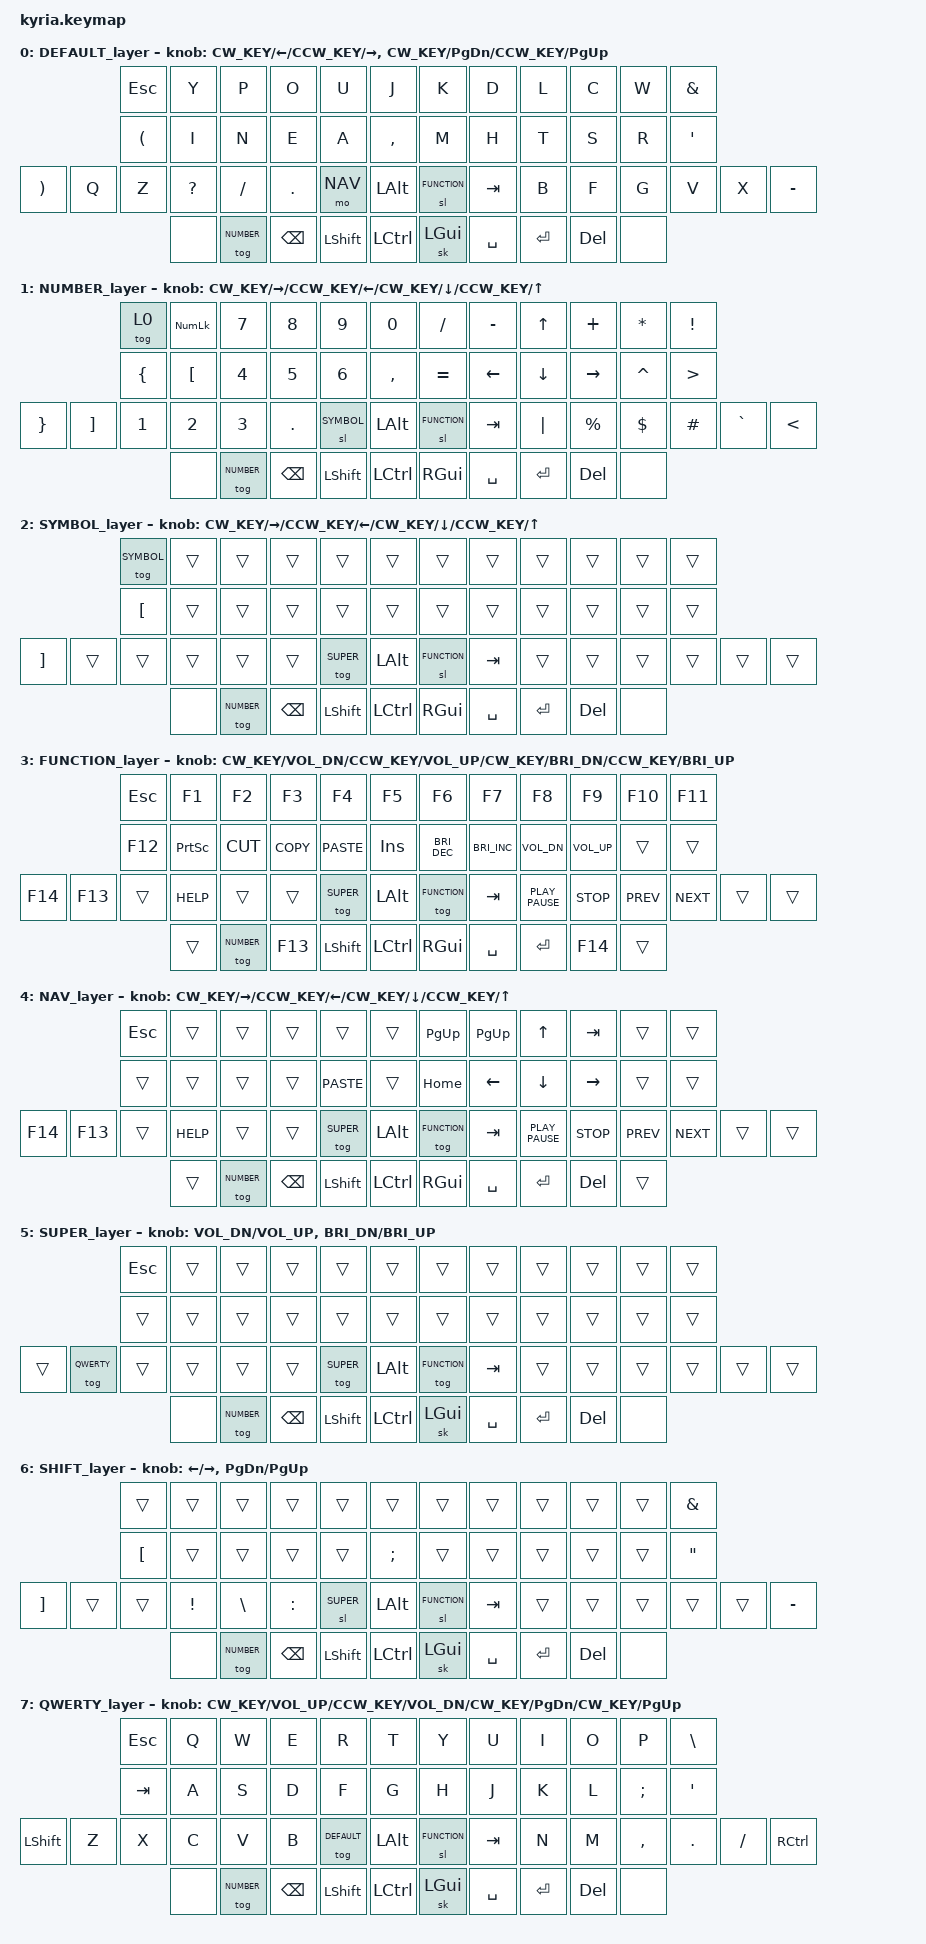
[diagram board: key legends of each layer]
/*
 * Copyright (c) 2020 The ZMK Contributors
 *
 * SPDX-License-Identifier: MIT
 */

#include <behaviors.dtsi>
#include <dt-bindings/zmk/keys.h>
#include <dt-bindings/zmk/rgb.h>

#define DEFAULT  0
#define NUMBER   1
#define SYMBOL	 2
#define FUNCTION 3
#define NAV      4
#define SUPER	 5
#define SHIFT	 6
#define QWERTY   7


&left_encoder { resolution = <2>; };
&right_encoder { resolution = <2>; };

/ {
    combos {
        compatible = "zmk,combos";
        combo_SUPER {
            timeout-ms = <30>;
            key-positions = <30 43>;
            bindings = <&sl SUPER>;
        };
    };
};
/ {

	keymap {
		compatible = "zmk,keymap";

		DEFAULT_layer {
            bindings = <
               &kp ESC   &kp Y   &kp P         &kp O      &kp U          &kp J                                                                           &kp K       &kp D   &kp L   &kp C   &kp W          &kp AMPS
  &kp LEFT_PARENTHESIS   &kp I   &kp N         &kp E      &kp A     &kp COMMA                                                                           &kp M       &kp H   &kp T   &kp S   &kp R  &kp SINGLE_QUOTE
 &kp RIGHT_PARENTHESIS   &kp Q   &kp Z  &kp QUESTION  &kp SLASH      &kp PERIOD                     &mo NAV  &kp LEFT_ALT     &sl FUNCTION &kp TAB      &kp B       &kp F   &kp G   &kp V   &kp X         &kp MINUS
                                               &none     &tog NUMBER  &kp BACKSPACE       &kp LSHIFT  &kp LEFT_CONTROL  &sk LEFT_GUI  &kp SPACE  &kp ENTER  &kp DELETE   &none
            >;

			sensor-bindings = <BINDING CW_KEY LEFT CCW_KEY RIGHT &inc_dec_kp CW_KEY PG_DN CCW_KEY PG_UP>;
		};

		NUMBER_layer {
            bindings = <
               &tog 0     &kp KP_NUMLOCK  &kp NUMBER_7  &kp NUMBER_8  &kp NUMBER_9   &kp NUMBER_0                                                                    &kp SLASH    &kp MINUS      &kp UP   &kp PLUS  &kp ASTERISK   &kp EXCLAMATION
 &kp LEFT_BRACE   &kp LEFT_BRACKET  &kp NUMBER_4  &kp NUMBER_5  &kp NUMBER_6      &kp COMMA                                                                    &kp EQUAL     &kp LEFT    &kp DOWN  &kp RIGHT     &kp CARET  &kp GREATER_THAN
             &kp RIGHT_BRACE  &kp RIGHT_BRACKET  &kp NUMBER_1  &kp NUMBER_2  &kp NUMBER_3     &kp PERIOD                 &sl SYMBOL    &kp LEFT_ALT  &sl FUNCTION    &kp TAB   &kp PIPE  &kp PERCENT  &kp DOLLAR   &kp HASH     &kp GRAVE     &kp LESS_THAN
                                                               &none    &tog NUMBER  &kp BACKSPACE            &kp LEFT_SHIFT     &kp LCTRL  &kp RIGHT_GUI  &kp SPACE  &kp ENTER   &kp DELETE      &none
            >;

			sensor-bindings = <BINDING CW_KEY RIGHT CCW_KEY LEFT CW_KEY DOWN CCW_KEY UP>;
		};

 		SYMBOL_layer {
            bindings = <
 &tog SYMBOL  &trans  &trans  &trans  &trans  &trans                                            &trans  &trans  &trans  &trans  &trans  &trans
 &kp LEFT_BRACKET  &trans  &trans  &trans  &trans  &trans                                            &trans  &trans  &trans  &trans  &trans  &trans
 &kp RIGHT_BRACKET  &trans  &trans  &trans  &trans  &trans  &tog SUPER &kp LEFT_ALT   &sl FUNCTION   &kp TAB  &trans  &trans  &trans  &trans  &trans  &trans
            &none    &tog NUMBER  &kp BACKSPACE &kp LEFT_SHIFT  &kp LCTRL  &kp RIGHT_GUI  &kp SPACE  &kp ENTER   &kp DELETE      &none 
            >;
 			sensor-bindings = <BINDING CW_KEY RIGHT CCW_KEY LEFT CW_KEY DOWN CCW_KEY UP>;
 		};

 		FUNCTION_layer {
            bindings = <
    &kp ESC &kp F1     &kp F2      &kp F3       &kp F4      &kp F5                                                                                  &kp F6                &kp F7        &kp F8        &kp F9  &kp F10  &kp F11
    &kp F12  &kp PRINTSCREEN  &kp K_CUT  &kp K_COPY  &kp K_PASTE  &kp INSERT                                                                    &kp C_BRIGHTNESS_DEC  &kp C_BRIGHTNESS_INC  &kp K_VOL_DN  &kp K_VOL_UP      &trans   &trans
 &kp F14       &kp F13     &trans  &kp K_HELP       &trans      &trans             &tog SUPER         &kp LALT  &tog FUNCTION    &kp TAB      &kp K_PLAY_PAUSE            &kp K_STOP    &kp K_PREV    &kp K_NEXT   &trans   &trans
                                             &trans   &tog NUMBER  &kp F13            &kp LSHIFT  &kp LEFT_CONTROL  &kp RIGHT_GUI  &kp SPACE      &kp ENTER            &kp F14        &trans
            >;

 			sensor-bindings = <BINDING CW_KEY C_VOL_DN CCW_KEY C_VOL_UP CW_KEY C_BRI_DN CCW_KEY C_BRI_UP>;
 		};

 		NAV_layer {
            bindings = <
    &kp ESC      &trans  &trans  &trans  &trans  &trans                                            &kp PG_UP  &kp PG_UP    &kp UP    &kp TAB  &trans  &trans
     &trans      &trans  &trans  &trans  &kp K_PASTE  &trans                                             &kp HOME   &kp LEFT  &kp DOWN  &kp RIGHT  &trans  &trans
 &kp F14   &kp F13  &trans &kp K_HELP   &trans      &trans    &tog SUPER         &kp LALT  &tog FUNCTION    &kp TAB   &kp K_PLAY_PAUSE            &kp K_STOP    &kp K_PREV    &kp K_NEXT   &trans   &trans
                                  &trans   &tog NUMBER  &kp BACKSPACE   &kp LSHIFT  &kp LEFT_CONTROL  &kp RIGHT_GUI  &kp SPACE   &kp ENTER            &kp DELETE       &trans
            >;

 			sensor-bindings = <BINDING CW_KEY RIGHT CCW_KEY LEFT CW_KEY DOWN CCW_KEY UP>;
 		};

 		SUPER_layer {
            bindings = <
&kp ESC  &trans  &trans  &trans  &trans  &trans                                                         &trans  &trans  &trans  &trans  &trans  &trans
 &trans  &trans  &trans  &trans  &trans  &trans                                                         &trans  &trans  &trans  &trans  &trans  &trans
 &trans  &tog QWERTY  &trans  &trans  &trans  &trans        &tog SUPER  &kp LALT  &tog FUNCTION    &kp TAB    &trans  &trans  &trans  &trans  &trans  &trans
           &none     &tog NUMBER  &kp BACKSPACE       &kp LEFT_SHIFT  &kp LEFT_CONTROL  &sk LEFT_GUI  &kp SPACE  &kp ENTER  &kp DELETE   &none
            >;

 			sensor-bindings = <&inc_dec_kp C_VOL_DN C_VOL_UP &inc_dec_kp C_BRI_DN C_BRI_UP>;
 		};

		SHIFT_layer {
            bindings = <
               &trans   &trans  &trans        &trans     &trans        &trans                                                                          &trans      &trans  &trans  &trans  &trans          &kp AMPS
  &kp LEFT_BRACKET      &trans  &trans        &trans     &trans     &kp SEMICOLON                                                                &trans      &trans  &trans  &trans  &trans  &kp DOUBLE_QUOTES
 &kp RIGHT_BRACKET   &trans     &trans  &kp EXCL  &kp BACKSLASH   &kp COLON             &sl SUPER  &kp LEFT_ALT  &sl FUNCTION     &kp TAB    &trans     &trans  &trans  &trans  &trans       &kp MINUS
                                               &none     &tog NUMBER  &kp BACKSPACE       &kp LEFT_SHIFT  &kp LEFT_CONTROL  &sk LEFT_GUI  &kp SPACE  &kp ENTER  &kp DELETE   &none
            >;

			sensor-bindings = <&inc_dec_kp LEFT RIGHT &inc_dec_kp PG_DN PG_UP>;
		};
		
		QWERTY_layer {
// ---------------------------------------------------------------------------------------------------------------------------------
// |  ESC  |  Q  |  W  |  E   |  R   |  T   |                                          |  Y   |  U    |  I    |  O   |   P   |   \  |
// |  TAB  |  A  |  S  |  D   |  F   |  G   |                                          |  H   |  J    |  K    |  L   |   ;   |   '  |
// | SHIFT |  Z  |  X  |  C   |  V   |  B   | L SHIFT | L ALT |  | L SHIFT | L SHIFT |  N   |  M    |  ,    |  .   |   /   | CTRL |
//                     | GUI  | DEL  | RET  | L SHIFT |   LCTRL   |  |   RET   |  SPACE  | TAB  | BSPC  | R-ALT |
			bindings = <
	&kp ESC   &kp Q &kp W &kp E &kp R &kp T                                                &kp Y &kp U  &kp I     &kp O   &kp P    &kp BSLH
	&kp TAB   &kp A &kp S &kp D &kp F &kp G                                                &kp H &kp J  &kp K     &kp L   &kp SEMI &kp SQT
	&kp LSHFT &kp Z &kp X &kp C &kp V &kp B  &tog DEFAULT &kp LEFT_ALT  &sl FUNCTION   &kp TAB &kp N &kp M  &kp COMMA &kp DOT &kp FSLH &kp RCTRL
     &none     &tog NUMBER  &kp BACKSPACE  &kp LEFT_SHIFT  &kp LEFT_CONTROL  &sk LEFT_GUI  &kp SPACE  &kp ENTER  &kp DELETE   &none
			>;

			sensor-bindings = <BINDING CW_KEY C_VOL_UP CCW_KEY C_VOL_DN CW_KEY PG_DN CW_KEY PG_UP>;
		};

	};
};
